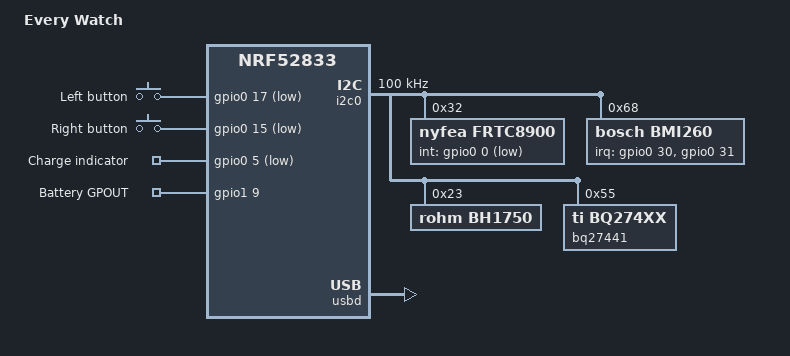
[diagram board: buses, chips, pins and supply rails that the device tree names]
/dts-v1/;
#include <nordic/nrf52833_qdaa.dtsi>
#include <dt-bindings/gpio/gpio.h>
#include <dt-bindings/i2c/i2c.h>
#include "every_watch_nrf52833-pinctrl.dtsi"

/ {
	model = "Every Watch";
	compatible = "everywatch,every-watch-nrf52833";

	chosen {
		zephyr,sram           = &sram0;
		zephyr,flash          = &flash0;
		zephyr,code-partition = &slot0_partition;
		/* DFU: MCUboot USB DFU GPIO mode — hold the left button through a
		 * power-on (or through the in-app 3 s hold reboot) and the
		 * bootloader stays in DFU until flashed:
		 *   dfu-util -d 2fe3:0100 -a 0 -D build/zephyr/app_update.bin */
	};

	/* ── Buttons ─────────────────────────────────────────────────────── */
	buttons {
		compatible = "gpio-keys";

		button_left: button_left {
			gpios = <&gpio0 17 (GPIO_ACTIVE_LOW | GPIO_PULL_UP)>;
			label = "Left button";
		};

		button_right: button_right {
			gpios = <&gpio0 15 (GPIO_ACTIVE_LOW | GPIO_PULL_UP)>;
			label = "Right button";
		};
	};

	/* ── Charge / battery GPIOs (input only at this stage) ───────────── */
	gpio_inputs {
		compatible = "gpio-keys";

		/* SGM41524 charge indicator — active low */
		chg_indicator: chg_indicator {
			gpios = <&gpio0 5 (GPIO_ACTIVE_LOW | GPIO_PULL_UP)>;
			label = "Charge indicator";
		};

		/* BQ27441 GPOUT / battery monitor interrupt — open-drain output,
		 * pull-up required (no PCB resistor assumed). */
		batt_gpout: batt_gpout {
			gpios = <&gpio1 9 (GPIO_ACTIVE_HIGH | GPIO_PULL_UP)>;
			label = "Battery GPOUT";
		};
	};

	aliases {
		btn-left  = &button_left;
		btn-right = &button_right;
		rtc0      = &frtc8900;
		batt0     = &bq27441;
		light0    = &bh1750;
		/* MCUboot starts this watchdog (see child_image/mcuboot.conf)
		 * and the app must feed it or the board resets every ~30s —
		 * see src/watchdog/watchdog.c. Shared here (not just in
		 * child_image/mcuboot.overlay) so the app build resolves
		 * DT_ALIAS(watchdog0) too. */
		watchdog0 = &wdt0;
	};
};

/* ── Flash partitions ────────────────────────────────────────────────── */
/* nRF52833: 512 KB flash (0x00000000 – 0x0007FFFF)
 *
 *   MCUboot  :  48 KB  0x00000000 – 0x0000BFFF  (USB DFU GPIO mode, 97% full)
 *   Slot 0   : 448 KB  0x0000C000 – 0x0007BFFF  (single image slot, no slot 1)
 *   Identity :   8 KB  0x0007C000 – 0x0007DFFF  (encounter hashes, enc_count — NVS)
 *   Settings :   8 KB  0x0007E000 – 0x0007FFFF  (Zephyr Settings / BT bond keys)
 *
 * Single-slot: hold the left button through power-on (or through the in-app
 * 3 s hold reboot) -> MCUboot stays in USB DFU until flashed ->
 * dfu-util -d 2fe3:0100 -a 0 -D build/zephyr/app_update.bin
 * Matches pm_static.yml. */
&flash0 {
	partitions {
		compatible = "fixed-partitions";
		#address-cells = <1>;
		#size-cells = <1>;

		boot_partition: partition@0 {
			label = "mcuboot";
			reg = <0x00000000 0xC000>;
			read-only;
		};

		slot0_partition: partition@C000 {
			label = "image-0";
			reg = <0x0000C000 0x70000>;
		};

		identity_partition: partition@7C000 {
			label = "identity_partition";
			reg = <0x0007C000 0x2000>;
		};

		/* Zephyr Settings backend (BT bond keys); matches pm_static.yml nvs_storage */
		storage_partition: partition@7E000 {
			label = "storage";
			reg = <0x0007E000 0x2000>;
		};
	};
};

/* ── I2C0 — all on-board sensors ─────────────────────────────────────── */
&i2c0 {
	compatible = "nordic,nrf-twim";
	status = "okay";
	pinctrl-0 = <&i2c0_default>;
	pinctrl-1 = <&i2c0_sleep>;
	pinctrl-names = "default", "sleep";
	/* 100 kHz, not 400 kHz: this PCB revision has no external pull-up
	 * resistors, so the bus relies on the nRF's internal ~13k pull-ups and
	 * their ~1 us rise time. See the workaround note in the pinctrl file.
	 * Restore I2C_BITRATE_FAST once 2.2k-4.7k resistors are fitted. */
	clock-frequency = <I2C_BITRATE_STANDARD>;

	/* The BMI260 driver uploads its 8 KB feature-engine config blob in
	 * 256-byte bursts, and the nRF TWIM driver has to prepend the register
	 * address to each one. It merges them through an internal concatenation
	 * buffer that defaults to 16 bytes, so every chunk was rejected with
	 * "internal driver buffer ... insufficient (1 + 256 > 16)" and nothing
	 * ever reached the sensor — leaving it stuck short of INIT_OK. 257 is
	 * the true minimum; 264 rounds up for headroom. Costs this much RAM
	 * permanently, which is why it is not simply set large. */
	zephyr,concat-buf-size = <264>;

	frtc8900: frtc8900@32 {
		compatible = "nyfea,frtc8900";
		reg = <0x32>;
		/* /INT: open-drain, active low — GPIO pull-up required */
		int-gpios = <&gpio0 0 (GPIO_ACTIVE_LOW | GPIO_PULL_UP)>;
	};

	bmi260: bmi260@68 {
		compatible = "bosch,bmi260";
		reg = <0x68>;
		irq-gpios = <&gpio0 30 (GPIO_ACTIVE_HIGH | GPIO_PULL_DOWN)>,
		            <&gpio0 31 (GPIO_ACTIVE_HIGH | GPIO_PULL_DOWN)>;
	};

	bh1750: bh1750@23 {
		compatible = "rohm,bh1750";
		reg = <0x23>;

		/*
		 * High-resolution mode 2: 0.5 lx per count instead of 1 lx.
		 *
		 * Free. The driver picks the same 180 ms integration time for
		 * modes 1 and 2 (bh1750_get_wait_time_from_dts_device) and
		 * halves the result in the conversion, so this is twice the
		 * resolution at no cost in time or power.
		 *
		 * It matters at the dark end specifically. The lux -> brightness
		 * curve in light.c climbs 24 -> 60 between 5 and 10 lx, i.e.
		 * 7.2 brightness units per lux — fifteen times steeper than
		 * anywhere above 50 lx. At 1 lx resolution each sensor count
		 * moves the display by 7 units; at 0.5 lx it moves 3.6. That is
		 * the difference between visible stepping in a dim room and not.
		 */
		resolution = <2>;

		/*
		 * Measurement time register, default. Raising it buys sensitivity
		 * at the cost of proportionally longer integration and a lower
		 * saturation ceiling — 138 would double both the sensitivity and
		 * the 180 ms conversion, and halve the ~54 klx maximum. Stated
		 * explicitly so the choice is visible rather than inherited.
		 */
		mtreg = <69>;
	};

	bq27441: bq27441@55 {
		compatible = "ti,bq274xx";
		reg = <0x55>;
		/* design-capacity MUST match the cell actually fitted, in mAh. The
		 * BQ27441 scales every state-of-charge figure by it, so a wrong
		 * value does not just skew the percentage — it is what made the
		 * gauge report 5-10% on a healthy 3.65 V battery during bring-up
		 * and left the low-battery indicator permanently asserted.
		 *
		 * Currently 400 mAh: the cell to hand. Update this one number when
		 * a larger cell goes in — nothing else in the firmware needs to
		 * change, and the low-battery warning triggers on voltage so it
		 * stays correct either way.
		 *
		 * The driver writes this to the gauge at init, but the BQ27441
		 * still refines its own model over a full charge/discharge cycle,
		 * so expect the percentage to be approximate until then. */
		design-capacity = <400>;
		design-voltage = <3700>;   /* mV nominal */
		/* Charge-termination current. Convention is C/10, so 40 mA at
		 * 400 mAh. Ideally match whatever the SGM41524 actually terminates
		 * at rather than the convention. */
		taper-current = <40>;      /* mA */
		terminate-voltage = <3000>; /* mV cutoff */
	};
};

/* ── SPI peripherals — unused ───────────────────────────────────────── */
/* The LED matrix is driven by PWM + EasyDMA (see src/led_matrix/led_matrix.c),
 * not SPI. WS2812B is self-clocked and needs no clock line; SPIM would have
 * required an SCK pin assigned to a stub just to clock its shift register.
 * All SPI instances are therefore disabled so they do not claim the pins. */
&spi0 {
	status = "disabled";
};

&spi1 {
	status = "disabled";
};

&spi2 {
	status = "disabled";
};

&spi3 {
	status = "disabled";
};

/* ── GPIO ports ──────────────────────────────────────────────────────── */
&gpio0 {
	status = "okay";
};

&gpio1 {
	status = "okay";
};

&gpiote {
	status = "okay";
};

/* ── Low-frequency clock ─────────────────────────────────────────────── */
/* No 32.768 kHz crystal is fitted, and the FRTC8900's 32 kHz output is
 * deliberately not routed to the nRF — the RTC keeps wall-clock time on its
 * own DTCXO, so the SoC does not need an accurate external reference.
 *
 * The LFCLK source is therefore the internal RC oscillator, selected in
 * Kconfig.defconfig. It is NOT optional: Zephyr defaults nRF52 to XTAL and
 * hangs forever in lfclk_spinwait() at PRE_KERNEL_2 without one.
 *
 * Do not switch this to SYNTH ("derive it from the main clock") — that keeps
 * HFCLK running continuously at roughly a milliamp and cannot sleep. RC is a
 * separate low-power oscillator that survives sleep, which is what a battery
 * device needs. Cost is ±500 ppm instead of ±20-50 ppm, which BLE tolerates,
 * plus periodic recalibration against HFCLK. */

/* ── USB — MCUboot USB DFU WAIT mode ─────────────────────────────────── */
/* nRF52833 USBD uses dedicated D+/D- pins; VBUS detected via POWER
 * peripheral events — no GPIO VBUS pin needed.
 * cdc_acm_uart0 kept for MCUboot's USB DFU class enumeration. */
zephyr_udc0: &usbd {
	status = "okay";
	cdc_acm_uart0: cdc_acm_uart0 {
		compatible = "zephyr,cdc-acm-uart";
	};
};
